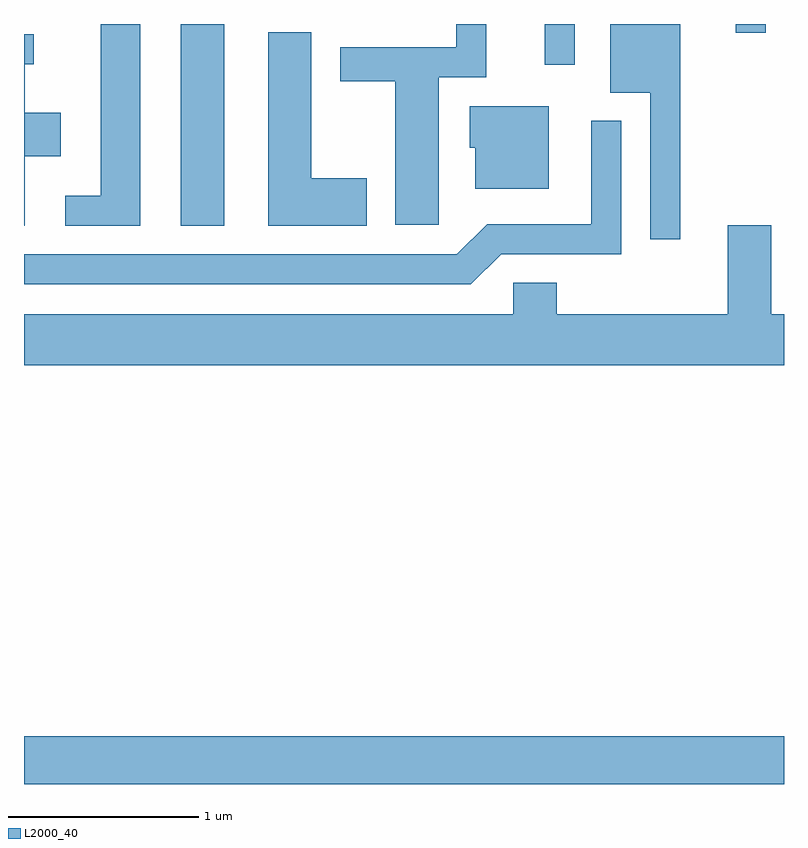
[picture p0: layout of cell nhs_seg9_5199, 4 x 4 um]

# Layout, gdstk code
import gdstk
lib = gdstk.Library(unit=1e-6, precision=1e-09)
def R(c, l, rs):  # rectangles x0, y0, x1, y1
    for r in rs: c.add(gdstk.rectangle(r[:2], r[2:], *l))
def P(c, l, *ps):  # polygons
    for p in ps: c.add(gdstk.Polygon(p, *l))
L2000_40 = (2000, 40)

nhs_seg9_5199 = lib.new_cell('nhs_seg9_5199')
R(nhs_seg9_5199, L2000_40, [(337.611,2058.432,341.611,2058.684), (338.436,2061.371,338.664,2062.432), (340.351,2062.218,340.509,2062.432), (341.356,2062.387,341.514,2062.432)])
P(nhs_seg9_5199, L2000_40, [(338.224,2062.432),(338.016,2062.432),(338.016,2061.529),(337.828,2061.529),(337.828,2061.371),(338.224,2061.371)],
  [(339.794,2062.151),(340.044,2062.151),(340.044,2062.432),(339.886,2062.432),(339.886,2062.309),(339.276,2062.309),(339.276,2062.131),(339.566,2062.131),(339.566,2061.376),(339.794,2061.376)],
  [(341.064,2062.432),(340.696,2062.432),(340.696,2062.071),(340.906,2062.071),(340.906,2061.298),(341.064,2061.298)],
  [(339.414,2061.619),(339.124,2061.619),(339.124,2062.389),(338.896,2062.389),(338.896,2061.371),(339.414,2061.371)],
  [(337.614,2061.736),(337.804,2061.736),(337.804,2061.964),(337.614,2061.964),(337.614,2062.221),(337.663,2062.221),(337.663,2062.379),(337.611,2062.379),(337.611,2061.371),(337.614,2061.371)],
  [(340.374,2061.999),(339.956,2061.999),(339.956,2061.781),(339.986,2061.781),(339.986,2061.566),(340.374,2061.566)],
  [(340.122,2061.221),(340.754,2061.221),(340.754,2061.923),(340.596,2061.923),(340.596,2061.379),(340.049,2061.379),(339.889,2061.219),(337.611,2061.219),(337.611,2061.061),(339.962,2061.061)],
  [(340.186,2061.069),(340.186,2060.904),(337.611,2060.904),(337.611,2060.636),(341.611,2060.636),(341.611,2060.904),(341.544,2060.904),(341.544,2061.374),(341.316,2061.374),(341.316,2060.904),(340.414,2060.904),(340.414,2061.069)])

lib.write_gds('nhs_seg9_5199.gds')
